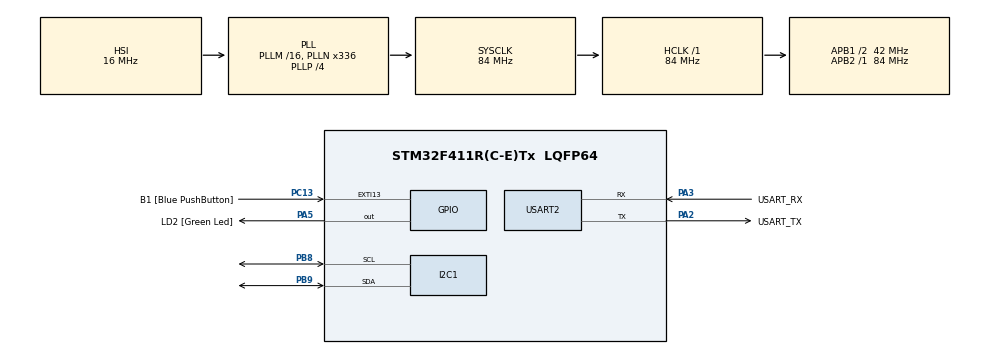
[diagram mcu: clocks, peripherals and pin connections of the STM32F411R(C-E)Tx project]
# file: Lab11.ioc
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Mcu.Family=STM32F4
PC15-OSC32_OUT.Mode=LSE-External-Oscillator
RCC.CortexFreq_Value=84000000
NVIC.I2C1_EV_IRQn=true\:0\:0\:false\:false\:true\:true\:true
PC13-ANTI_TAMP.GPIO_Label=B1 [Blue PushButton]
PA14.GPIO_Label=TCK
PH1\ -\ OSC_OUT.Mode=HSE-External-Clock-Source
RCC.APB1CLKDivider=RCC_HCLK_DIV2
PC14-OSC32_IN.Signal=RCC_OSC32_IN
RCC.SYSCLKSource=RCC_SYSCLKSOURCE_PLLCLK
ProjectManager.StackSize=0x400
PA13.Signal=SYS_JTMS-SWDIO
PA3.Mode=Asynchronous
PH0\ -\ OSC_IN.Mode=HSE-External-Clock-Source
PH0\ -\ OSC_IN.Signal=RCC_OSC_IN
ProjectManager.TargetToolchain=STM32CubeIDE
I2C1.I2C_Mode=I2C_Fast
RCC.HCLKFreq_Value=84000000
PB9.Mode=I2C
RCC.APB2TimFreq_Value=84000000
PC15-OSC32_OUT.Signal=RCC_OSC32_OUT
RCC.AHBFreq_Value=84000000
PA5.Signal=GPIO_Output
RCC.HSE_VALUE=8000000
PH1\ -\ OSC_OUT.Signal=RCC_OSC_OUT
board=NUCLEO-F411RE
PC13-ANTI_TAMP.Signal=GPXTI13
RCC.VCOOutputFreq_Value=336000000
RCC.APB2Freq_Value=84000000
PC14-OSC32_IN.Mode=LSE-External-Oscillator
PA14.Mode=Serial_Wire
PA13.Mode=Serial_Wire
NVIC.I2C1_ER_IRQn=true\:0\:0\:false\:false\:true\:true\:true
Mcu.Name=STM32F411R(C-E)Tx
PA2.Signal=USART2_TX
PA13.GPIO_Label=TMS
RCC.FLatency-AdvancedSettings=FLASH_LATENCY_2
RCC.48MHZClocksFreq_Value=84000000
PB3.Signal=SYS_JTDO-SWO
RCC.SYSCLKFreq_VALUE=84000000
Mcu.Package=LQFP64
PB9.Signal=I2C1_SDA
PA5.GPIO_Label=LD2 [Green Led]
USART2.VirtualMode=VM_ASYNC
PC13-ANTI_TAMP.GPIO_ModeDefaultEXTI=GPIO_MODE_IT_FALLING
PA2.GPIO_Label=USART_TX
PA14.Signal=SYS_JTCK-SWCLK
ProjectManager.HeapSize=0x200
RCC.HSI_VALUE=16000000
RCC.PLLP=RCC_PLLP_DIV4
NVIC.PriorityGroup=NVIC_PRIORITYGROUP_0
PB8.Mode=I2C
RCC.PLLN=336
RCC.APB1TimFreq_Value=84000000
PA2.Mode=Asynchronous
PB8.Signal=I2C1_SCL
RCC.APB1Freq_Value=42000000
PA3.GPIO_Label=USART_RX
PA3.Signal=USART2_RX
PB3.GPIO_Label=SWO

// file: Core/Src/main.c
/* USER CODE BEGIN Header */
/**
 ******************************************************************************
 * @file           : main.c
 * @brief          : Main program body
 ******************************************************************************
 * @attention
 *
 * <h2><center>&copy; Copyright (c) 2021 STMicroelectronics.
 * All rights reserved.</center></h2>
 *
 * This software component is licensed by ST under BSD 3-Clause license,
 * the "License"; You may not use this file except in compliance with the
 * License. You may obtain a copy of the License at:
 *                        opensource.org/licenses/BSD-3-Clause
 *
 ******************************************************************************
 */
/* USER CODE END Header */
#include "main.h"

/* USER CODE BEGIN PD */
#define EEPROM_ADDR 0b10100000
#define IOEXPD_ADDR 0b01000000
/* USER CODE END PD */

I2C_HandleTypeDef hi2c1;

UART_HandleTypeDef huart2;

/* USER CODE BEGIN PV */
uint8_t eepromExampleWriteFlag = 0;
uint8_t eepromExampleReadFlag = 0;
uint8_t IOExpdrExampleWriteFlag = 0;
uint8_t IOExpdrExampleReadFlag = 0;
uint8_t eepromDataReadBack[2];
uint8_t IOExpdrDataReadBack;
uint8_t IOExpdrDataWrite = 0b01010101;
uint32_t time_stamp;
int Switch = 0;
int stamp=0;
int start=0;
int Mode =0;
uint8_t Out_bit = 0b00000000;

/* USER CODE END PV */

void SystemClock_Config(void);
static void MX_GPIO_Init(void);
static void MX_USART2_UART_Init(void);
static void MX_I2C1_Init(void);
/* USER CODE BEGIN PFP */
void EEPROMWriteExample();
void EEPROMReadExample(uint8_t *Rdata, uint16_t len);

void IOExpenderInit();
void IOExpenderReadPinA(uint8_t *Rdata);
void IOExpenderWritePinB(uint8_t Wdata);

/* USER CODE END PFP */

int main(void)
{

  /* MCU Configuration--------------------------------------------------------*/

  /* Reset of all peripherals, Initializes the Flash interface and the Systick. */
  HAL_Init();

  /* Configure the system clock */
  SystemClock_Config();

  /* Initialize all configured peripherals */
  MX_GPIO_Init();
  MX_USART2_UART_Init();
  MX_I2C1_Init();
  /* USER CODE BEGIN 2 */
  HAL_Delay(100);
  IOExpenderInit();
  /* USER CODE END 2 */

  /* Infinite loop */
  /* USER CODE BEGIN WHILE */
	while (1) {
		if(start==0){
			eepromExampleReadFlag =1;
			start=1;
		}else if(start==1){
			IOExpdrExampleWriteFlag=1;
			start=2;
		}else if(start==2&&Switch==1&&IOExpdrExampleWriteFlag==0){
			start=3;
		}
				if(HAL_GPIO_ReadPin(GPIOC, GPIO_PIN_13)==GPIO_PIN_RESET && stamp==0){
					IOExpdrExampleReadFlag =1;
					stamp =1;
					time_stamp=HAL_GetTick();
				}else if(HAL_GPIO_ReadPin(GPIOC, GPIO_PIN_13)==GPIO_PIN_RESET && stamp==1
						&&IOExpdrExampleReadFlag ==0 &&(HAL_GetTick()-time_stamp>=10)){
					eepromExampleWriteFlag =1;
					stamp=2;
					time_stamp=HAL_GetTick();
				}else if(HAL_GPIO_ReadPin(GPIOC, GPIO_PIN_13)==GPIO_PIN_RESET && stamp==2
						&&eepromExampleWriteFlag==0&&(HAL_GetTick()-time_stamp>=10)){
					IOExpdrExampleWriteFlag=1;
					stamp=3;
					time_stamp=HAL_GetTick();
				}else if(HAL_GPIO_ReadPin(GPIOC, GPIO_PIN_13)==GPIO_PIN_RESET && stamp==3
						&&IOExpdrExampleWriteFlag==0&&(HAL_GetTick()-time_stamp>=10)){
					eepromExampleReadFlag=1;
					stamp=4;
					time_stamp=HAL_GetTick();
				}else if(HAL_GPIO_ReadPin(GPIOC, GPIO_PIN_13)==GPIO_PIN_SET && stamp==4
					    &&eepromExampleReadFlag==0&&(HAL_GetTick()-time_stamp>=10)){
					stamp=0;
				}
		Out_bit = 0b11110000;//inverse logic
		Out_bit |=((IOExpdrDataReadBack&0b00001000)>>3);
		Out_bit |=((IOExpdrDataReadBack&0b00000100)>>1);
		Out_bit |=((IOExpdrDataReadBack&0b00000010)<<1);
		Out_bit |=((IOExpdrDataReadBack&0b00000001)<<3);
		IOExpdrDataWrite = Out_bit;
		EEPROMWriteExample();
		EEPROMReadExample(eepromDataReadBack,2);
		IOExpenderReadPinA(&IOExpdrDataReadBack);
		if(start<=2){
			IOExpenderWritePinB(eepromDataReadBack[0]);
			Switch=1;
			Mode=0;
		}else if(start==3){
			IOExpenderWritePinB(IOExpdrDataWrite);
			Mode=1;
		}
    /* USER CODE END WHILE */

	}
}

void SystemClock_Config(void)
{
  RCC_OscInitTypeDef RCC_OscInitStruct = {0};
  RCC_ClkInitTypeDef RCC_ClkInitStruct = {0};

  /** Configure the main internal regulator output voltage
  */
  __HAL_RCC_PWR_CLK_ENABLE();
  __HAL_PWR_VOLTAGESCALING_CONFIG(PWR_REGULATOR_VOLTAGE_SCALE1);
  /** Initializes the RCC Oscillators according to the specified parameters
  * in the RCC_OscInitTypeDef structure.
  */
  RCC_OscInitStruct.OscillatorType = RCC_OSCILLATORTYPE_HSI;
  RCC_OscInitStruct.HSIState = RCC_HSI_ON;
  RCC_OscInitStruct.HSICalibrationValue = RCC_HSICALIBRATION_DEFAULT;
  RCC_OscInitStruct.PLL.PLLState = RCC_PLL_ON;
  RCC_OscInitStruct.PLL.PLLSource = RCC_PLLSOURCE_HSI;
  RCC_OscInitStruct.PLL.PLLM = 16;
  RCC_OscInitStruct.PLL.PLLN = 336;
  RCC_OscInitStruct.PLL.PLLP = RCC_PLLP_DIV4;
  RCC_OscInitStruct.PLL.PLLQ = 4;
  if (HAL_RCC_OscConfig(&RCC_OscInitStruct) != HAL_OK)
  {
    Error_Handler();
  }
  /** Initializes the CPU, AHB and APB buses clocks
  */
  RCC_ClkInitStruct.ClockType = RCC_CLOCKTYPE_HCLK|RCC_CLOCKTYPE_SYSCLK
                              |RCC_CLOCKTYPE_PCLK1|RCC_CLOCKTYPE_PCLK2;
  RCC_ClkInitStruct.SYSCLKSource = RCC_SYSCLKSOURCE_PLLCLK;
  RCC_ClkInitStruct.AHBCLKDivider = RCC_SYSCLK_DIV1;
  RCC_ClkInitStruct.APB1CLKDivider = RCC_HCLK_DIV2;
  RCC_ClkInitStruct.APB2CLKDivider = RCC_HCLK_DIV1;

  if (HAL_RCC_ClockConfig(&RCC_ClkInitStruct, FLASH_LATENCY_2) != HAL_OK)
  {
    Error_Handler();
  }
}

static void MX_I2C1_Init(void)
{

  hi2c1.Instance = I2C1;
  hi2c1.Init.ClockSpeed = 400000;
  hi2c1.Init.DutyCycle = I2C_DUTYCYCLE_2;
  hi2c1.Init.OwnAddress1 = 0;
  hi2c1.Init.AddressingMode = I2C_ADDRESSINGMODE_7BIT;
  hi2c1.Init.DualAddressMode = I2C_DUALADDRESS_DISABLE;
  hi2c1.Init.OwnAddress2 = 0;
  hi2c1.Init.GeneralCallMode = I2C_GENERALCALL_DISABLE;
  hi2c1.Init.NoStretchMode = I2C_NOSTRETCH_DISABLE;
  if (HAL_I2C_Init(&hi2c1) != HAL_OK)
  {
    Error_Handler();
  }

}

static void MX_USART2_UART_Init(void)
{

  huart2.Instance = USART2;
  huart2.Init.BaudRate = 115200;
  huart2.Init.WordLength = UART_WORDLENGTH_8B;
  huart2.Init.StopBits = UART_STOPBITS_1;
  huart2.Init.Parity = UART_PARITY_NONE;
  huart2.Init.Mode = UART_MODE_TX_RX;
  huart2.Init.HwFlowCtl = UART_HWCONTROL_NONE;
  huart2.Init.OverSampling = UART_OVERSAMPLING_16;
  if (HAL_UART_Init(&huart2) != HAL_OK)
  {
    Error_Handler();
  }

}

static void MX_GPIO_Init(void)
{
  GPIO_InitTypeDef GPIO_InitStruct = {0};

  /* GPIO Ports Clock Enable */
  __HAL_RCC_GPIOC_CLK_ENABLE();
  __HAL_RCC_GPIOH_CLK_ENABLE();
  __HAL_RCC_GPIOA_CLK_ENABLE();
  __HAL_RCC_GPIOB_CLK_ENABLE();

  /*Configure GPIO pin Output Level */
  HAL_GPIO_WritePin(LD2_GPIO_Port, LD2_Pin, GPIO_PIN_RESET);

  /*Configure GPIO pin : B1_Pin */
  GPIO_InitStruct.Pin = B1_Pin;
  GPIO_InitStruct.Mode = GPIO_MODE_IT_FALLING;
  GPIO_InitStruct.Pull = GPIO_NOPULL;
  HAL_GPIO_Init(B1_GPIO_Port, &GPIO_InitStruct);

  /*Configure GPIO pin : LD2_Pin */
  GPIO_InitStruct.Pin = LD2_Pin;
  GPIO_InitStruct.Mode = GPIO_MODE_OUTPUT_PP;
  GPIO_InitStruct.Pull = GPIO_NOPULL;
  GPIO_InitStruct.Speed = GPIO_SPEED_FREQ_LOW;
  HAL_GPIO_Init(LD2_GPIO_Port, &GPIO_InitStruct);

}

/* USER CODE BEGIN 4 */
void EEPROMWriteExample() {
	if (eepromExampleWriteFlag && hi2c1.State == HAL_I2C_STATE_READY) {

		static uint8_t data[] = { 0b00000000, 0b00000000 };
		data[0] = IOExpdrDataWrite;
		HAL_I2C_Mem_Write_IT(&hi2c1, EEPROM_ADDR, 0x35, I2C_MEMADD_SIZE_16BIT,
				data, 2);

		eepromExampleWriteFlag = 0;
	}
}
void EEPROMReadExample(uint8_t *Rdata, uint16_t len) {
	if (eepromExampleReadFlag && hi2c1.State == HAL_I2C_STATE_READY) {

		HAL_I2C_Mem_Read_IT(&hi2c1, EEPROM_ADDR, 0x35, I2C_MEMADD_SIZE_16BIT,
				Rdata, len);
		eepromExampleReadFlag = 0;
	}
}
void IOExpenderInit() {
	//Init All
	static uint8_t Setting[0x16] = { 0xFF, 0x00, 0x00, 0x00, 0x00, 0x00, 0x00,
			0x00, 0x00, 0x00, 0x00, 0x00, 0xFF, 0x00, 0x00, 0x00, 0x00, 0x00,
			0x00, 0x00, 0x00, 0x00 };
	HAL_I2C_Mem_Write(&hi2c1, IOEXPD_ADDR, 0x00, I2C_MEMADD_SIZE_8BIT, Setting,
			0x16, 100);

}
void IOExpenderReadPinA(uint8_t *Rdata) {
	if (IOExpdrExampleReadFlag && hi2c1.State == HAL_I2C_STATE_READY) {
		HAL_I2C_Mem_Read_IT(&hi2c1, IOEXPD_ADDR, 0x12, I2C_MEMADD_SIZE_8BIT,
				Rdata, 1);
		IOExpdrExampleReadFlag =0;
	}
}
void IOExpenderWritePinB(uint8_t Wdata) {
	if (IOExpdrExampleWriteFlag && hi2c1.State == HAL_I2C_STATE_READY) {
		static uint8_t data;
		data = Wdata;
		HAL_I2C_Mem_Write_IT(&hi2c1, IOEXPD_ADDR, 0x15, I2C_MEMADD_SIZE_8BIT,
				&data, 1);
		IOExpdrExampleWriteFlag=0;
	}
}
/* USER CODE END 4 */

void Error_Handler(void)
{
	__disable_irq();
	while (1) {
	}
}

/************************ (C) COPYRIGHT STMicroelectronics *****END OF FILE****/
